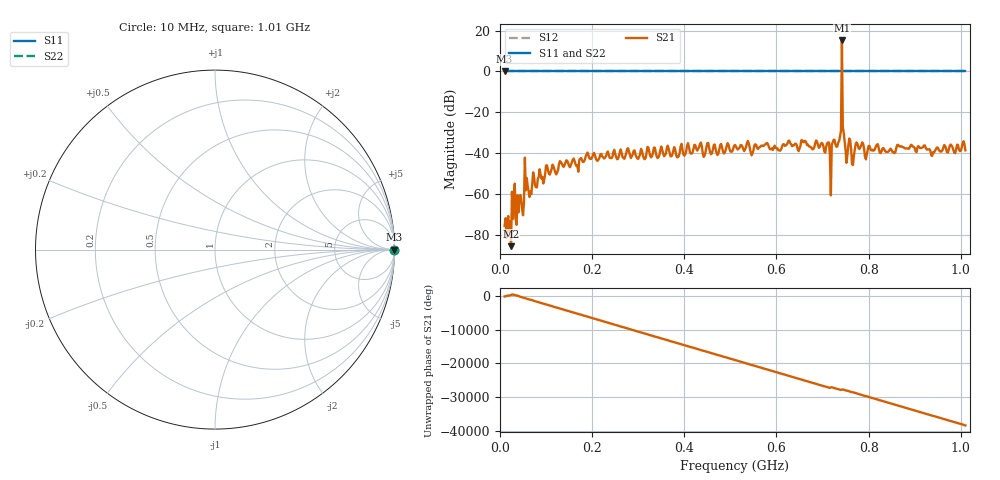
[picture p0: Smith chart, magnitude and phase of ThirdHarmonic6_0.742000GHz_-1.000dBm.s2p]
! 8/16/2025 12:50:19 AM
! C:\ANRITSUVNA\TEMP\TEMP.S2P
! CHANNEL.1
! TR.MEASUREMENT
! RAW.DATA
! RF.CORRECTION.OFF
! AVERAGING.OFF
! IF.BANDWIDTH: 5KHZ
! SWEEPTYPE:  FREQ.SWEEP(Linear)
! Reference Plane Port Info
! PORT:  PORT1  PORT2
! DISTANCE:  0  m  0  m
! TIME:  0  s  0  s
! PHASE.OFFSET:  0  deg.  0  deg.
! LOSS:  0  dB  0  dB
! REF.LOSS:  0  dB  0  dB
! REF.FREQ:  0  Hz  0  Hz
! Power Info
! POWER:  -20  dBm  -20  dBm
! EFF.POWER:  -20  dBm  -20  dBm
! SOURCE.ATTEN:  0  dB  0  dB
! TEST.ATTEN:  0  dB  0  dB
# GHZ S RI R 50.0
! FREQ.GHZ  S11RE  S11IM  S21RE  S21IM  S12RE  S12IM  S22RE  S22IM
!; PortSelection: Port_12
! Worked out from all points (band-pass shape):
!   501 points, 10 MHz to 1.01 GHz, reference 50 ohm
!   highest |S21| = 15.13 dB at 742 MHz (marker M1); lowest = -85.6 dB at 24 MHz (marker M2)
!   |S21| within 3 dB of the highest: 741.8644 MHz to 742.1418 MHz (277.4 kHz wide, 0.0374 % of centre)
!   lowest |S11| = 0.0 dB at 10 MHz (marker M3)
!   |S11| at or under -10 dB: nowhere
!   |S22| runs from 0.0 to 0.0 dB; largest |S21 - S12| = 5.3
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0.01  1 0  8.31e-05 -0.000142  1 0  1 0
0.024  1 0  3.48e-05 3.91e-05  1 0  1 0
0.03  1 0  0.000268 0.000514  1 0  1 0
0.048  1 0  0.000333 0.000243  1 0  1 0
0.058  1 0  0.00245 7.36e-05  1 0  1 0
0.064  1 0  -0.000508 0.000668  1 0  1 0
0.102  1 0  0.00496 0.000526  1 0  1 0
0.178  1 0  -0.00645 0.00164  1 0  1 0
0.344  1 0  0.00533 -0.0058  1 0  1 0
0.51  1 0  -0.00254 0.0156  1 0  1 0
0.678  1 0  -0.0114 0.00465  1 0  1 0
0.71  1 0  0.0142 -0.00995  1 0  1 0
0.718  1 0  -0.000432 -0.000806  1 0  1 0
0.736  1 0  0.0196 -0.00101  1 0  1 0
0.738  1 0  0.00469 -0.0253  1 0  1 0
0.742  1 0  2.502 -5.133  1 0  1 0
0.746  1 0  -0.0163 -0.0265  1 0  1 0
0.748  1 0  -0.016 0.0114  1 0  1 0
0.766  1 0  -0.00382 -0.00334  1 0  1 0
0.774  1 0  -0.0081 -0.0163  1 0  1 0
0.844  1 0  0.00728 -0.00853  1 0  1 0
1.01  1 0  0.00523 0.0104  1 0  1 0
